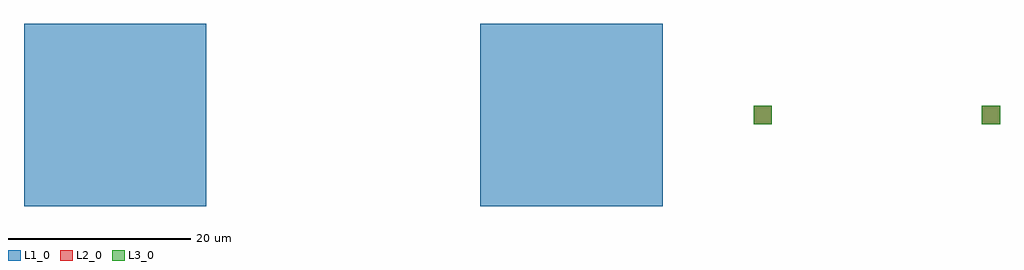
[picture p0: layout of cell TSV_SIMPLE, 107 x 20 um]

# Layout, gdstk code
import gdstk
lib = gdstk.Library(unit=1e-6, precision=1e-09)
def R(c, l, rs):  # rectangles x0, y0, x1, y1
    for r in rs: c.add(gdstk.rectangle(r[:2], r[2:], *l))
L1_0 = (1, 0)
L2_0 = (2, 0)
L3_0 = (3, 0)

tsv_simple = lib.new_cell('TSV_SIMPLE')
R(tsv_simple, L1_0, [(-10,-10,10,10), (40,-10,60,10)])
R(tsv_simple, L2_0, [(70,-1,72,1), (95,-1,97,1)])
R(tsv_simple, L3_0, [(70,-1,72,1), (95,-1,97,1)])

lib.write_gds('TSV_SIMPLE.gds')
